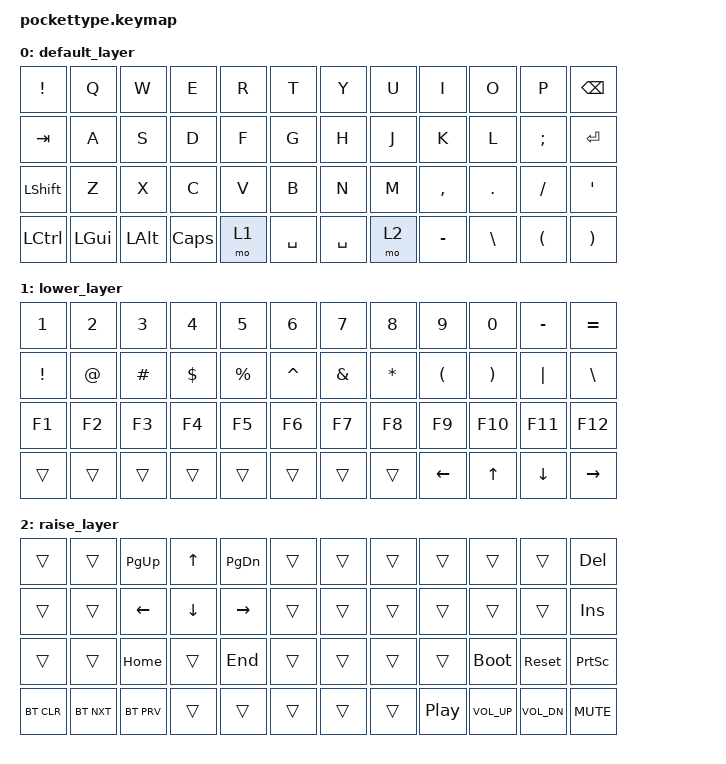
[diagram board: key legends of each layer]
/*
 * Copyright (c) 2020 The ZMK Contributors
 *
 * SPDX-License-Identifier: MIT
 */

#include <behaviors.dtsi>
#include <dt-bindings/zmk/bt.h>
#include <dt-bindings/zmk/keys.h>

/ {
    combos {
        compatible = "zmk,combos";

        macro_hello {
            bindings = <&hello>;
            key-positions = <34 25>;
        };
    };

    macros {
        hello: hello {
            compatible = "zmk,behavior-macro";
            #binding-cells = <0>;
            bindings = <&kp LS(A) &kp E &kp L &kp L &kp O>;
            label = "HELLO";
        };
    };

    keymap {
        compatible = "zmk,keymap";

        default_layer {
            bindings = <
&kp EXCL   &kp Q     &kp W     &kp E     &kp R  &kp T      &kp Y      &kp U  &kp I      &kp O          &kp P          &kp BSPC
&kp TAB    &kp A     &kp S     &kp D     &kp F  &kp G      &kp H      &kp J  &kp K      &kp L          &kp SEMICOLON  &kp ENTER
&kp LSHFT  &kp Z     &kp X     &kp C     &kp V  &kp B      &kp N      &kp M  &kp COMMA  &kp DOT        &kp SLASH      &kp SINGLE_QUOTE
&kp LCTRL  &kp LGUI  &kp LALT  &kp CAPS  &mo 1  &kp SPACE  &kp SPACE  &mo 2  &kp MINUS  &kp BACKSLASH  &kp LPAR       &kp RPAR
            >;
        };

        lower_layer {
            bindings = <
&kp N1    &kp N2  &kp N3    &kp N4    &kp N5     &kp N6     &kp N7    &kp N8     &kp N9    &kp N0    &kp MINUS  &kp EQUAL
&kp EXCL  &kp AT  &kp HASH  &kp DLLR  &kp PRCNT  &kp CARET  &kp AMPS  &kp ASTRK  &kp LPAR  &kp RPAR  &kp PIPE   &kp BSLH
&kp F1    &kp F2  &kp F3    &kp F4    &kp F5     &kp F6     &kp F7    &kp F8     &kp F9    &kp F10   &kp F11    &kp F12
&trans    &trans  &trans    &trans    &trans     &trans     &trans    &trans     &kp LEFT  &kp UP    &kp DOWN   &kp RIGHT
            >;
        };

        raise_layer {
            bindings = <
&trans      &trans      &kp PG_UP   &kp UP    &kp PG_DN  &trans  &trans  &trans  &trans            &trans        &trans        &kp DEL
&trans      &trans      &kp LEFT    &kp DOWN  &kp RIGHT  &trans  &trans  &trans  &trans            &trans        &trans        &kp INSERT
&trans      &trans      &kp HOME    &trans    &kp END    &trans  &trans  &trans  &trans            &bootloader   &sys_reset    &kp PSCRN
&bt BT_CLR  &bt BT_NXT  &bt BT_PRV  &trans    &trans     &trans  &trans  &trans  &kp C_PLAY_PAUSE  &kp C_VOL_UP  &kp C_VOL_DN  &kp C_MUTE
            >;
        };
    };
};
